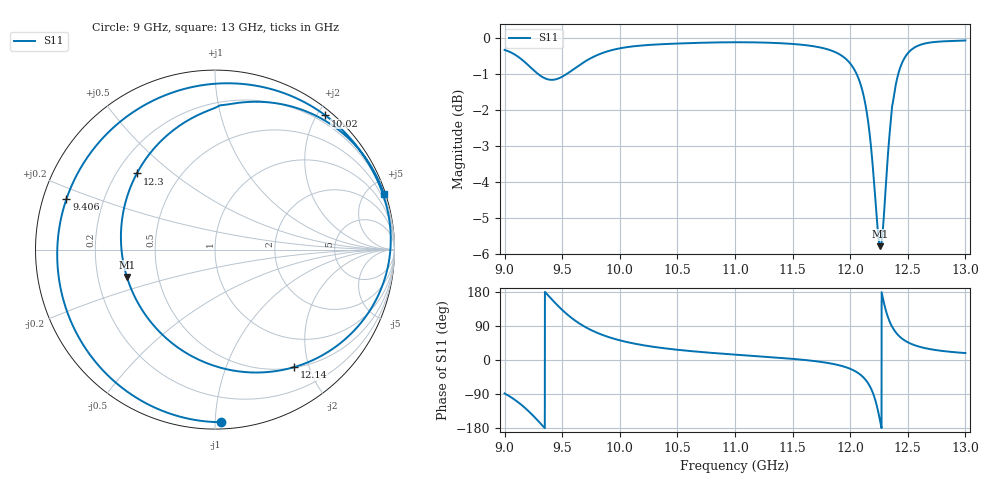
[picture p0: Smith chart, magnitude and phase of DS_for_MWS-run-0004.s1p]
! TOUCHSTONE file generated by CST DESIGN STUDIO
! Date and time: Tue Feb  4 12:51:31 2025
! Project name: C:\Work\MatlabApps\UnitCellOptimizationMatlab\CST\unitcell.cst
! Tree item: Tasks\Sweep1\SPara1\S-Parameters
! Header version: 2024
! Port assignment regex: !\s*Touchstone port\s*([0-9]+)\s*=\s*(CST MWS port|CST DES external port|CST DES block port)\s*(.+)\s* \(\"(.*)\"\)(\s*mode\s*([0-9]+))?.*
! Touchstone port assignment:
! Touchstone port 1 = CST DES external port 1 ("")
# GHz S MA R 50
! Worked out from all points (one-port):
!   4001 points, 9 GHz to 13 GHz, reference 50 ohm
!   lowest |S11| = -5.8 dB at 12.26 GHz (marker M1), VSWR 3.12, Z = 16.4 - j6.76 ohm
!   |S11| at or under -10 dB: nowhere
!   S11 on the Smith chart (normalised r, x): 9 GHz: 0.04, -1.03; 9.406 GHz: 0.07, +0.17; 10.02 GHz: 0.09, +2.12; 12.14 GHz: 0.51, -1.77; 12.3 GHz: 0.28, +0.38; 13 GHz: 0.17, +6.19
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9  0.9621 -88.2
9.101  0.9453 -107.7
9.188  0.9217 -129.4
9.303  0.8878 -164.6
9.406  0.8744 161.1
9.5  0.8832 132.1
9.586  0.9016 109.9
9.684  0.9243 89.9
9.833  0.9505 68.1
10  0.967 51.9
10.018  0.9682 50.5
10.5  0.982 27.0
11  0.986 14.2
11.5  0.9807 3.0
11.802  0.9642 -7.6
12  0.9214 -23.3
12.082  0.8698 -37.2
12.143  0.7898 -55.9
12.208  0.6272 -96.2
12.234  0.5519 -124.4
12.261  0.514 -162.8
12.305  0.6079 135.8
12.337  0.7203 105.5
12.373  0.8187 83.2
12.431  0.9061 61.3
12.5  0.9519 46.8
12.671  0.9837 30.0
13  0.9917 18.3
